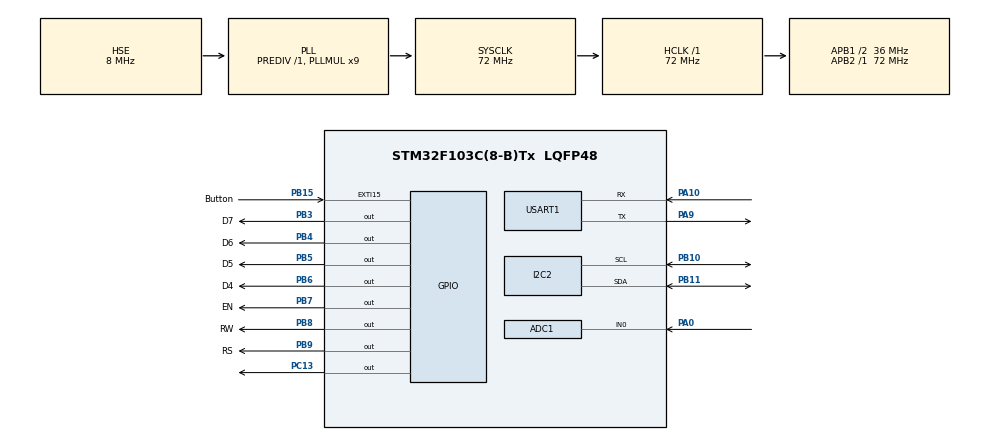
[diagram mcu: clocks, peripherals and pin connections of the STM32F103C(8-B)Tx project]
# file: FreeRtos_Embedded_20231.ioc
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ADC1.Channel-0\#ChannelRegularConversion=ADC_CHANNEL_0
ADC1.ContinuousConvMode=ENABLE
ADC1.NbrOfConversionFlag=1
ADC1.Rank-0\#ChannelRegularConversion=1
ADC1.SamplingTime-0\#ChannelRegularConversion=ADC_SAMPLETIME_55CYCLES_5
ADC1.master=1
Dma.ADC1.0.Direction=DMA_PERIPH_TO_MEMORY
Dma.ADC1.0.Instance=DMA1_Channel1
Dma.ADC1.0.MemDataAlignment=DMA_MDATAALIGN_HALFWORD
Dma.ADC1.0.MemInc=DMA_MINC_ENABLE
Dma.ADC1.0.Mode=DMA_CIRCULAR
Dma.ADC1.0.PeriphDataAlignment=DMA_PDATAALIGN_HALFWORD
Dma.ADC1.0.PeriphInc=DMA_PINC_DISABLE
Dma.ADC1.0.Priority=DMA_PRIORITY_LOW
Dma.Request0=ADC1
FREERTOS.Mutexes01=wait_LCD,Dynamic,NULL;wait_UART,Dynamic,NULL
FREERTOS.Tasks01=SensorTask,24,256,StartSensorTask,Default,NULL,Dynamic,NULL,NULL;UartTask,32,256,StartUartTask,Default,NULL,Dynamic,NULL,NULL;LCDTask,16,256,StartLCDTask,Default,NULL,Dynamic,NULL,NULL
FREERTOS.configTOTAL_HEAP_SIZE=5000
Mcu.Family=STM32F1
Mcu.Name=STM32F103C(8-B)Tx
Mcu.Package=LQFP48
NVIC.DMA1_Channel1_IRQn=true\:5\:0\:false\:false\:true\:true\:false\:true\:true
NVIC.EXTI15_10_IRQn=true\:5\:0\:false\:false\:true\:true\:true\:true\:true
NVIC.PriorityGroup=NVIC_PRIORITYGROUP_4
NVIC.TIM1_UP_IRQn=true\:15\:0\:false\:false\:true\:false\:false\:true\:true
NVIC.TimeBase=TIM1_UP_IRQn
NVIC.TimeBaseIP=TIM1
NVIC.USART1_IRQn=true\:5\:0\:false\:false\:true\:true\:true\:true\:true
PA0-WKUP.Signal=ADCx_IN0
PA10.Mode=Asynchronous
PA10.Signal=USART1_RX
PA13.Mode=Serial_Wire
PA13.Signal=SYS_JTMS-SWDIO
PA14.Mode=Serial_Wire
PA14.Signal=SYS_JTCK-SWCLK
PA9.Mode=Asynchronous
PA9.Signal=USART1_TX
PB10.Mode=I2C
PB10.Signal=I2C2_SCL
PB11.Mode=I2C
PB11.Signal=I2C2_SDA
PB15.GPIO_Label=Button
PB15.GPIO_ModeDefaultEXTI=GPIO_MODE_IT_FALLING
PB15.Signal=GPXTI15
PB3.GPIO_Label=D7
PB3.Signal=GPIO_Output
PB4.GPIO_Label=D6
PB4.Signal=GPIO_Output
PB5.GPIO_Label=D5
PB5.Signal=GPIO_Output
PB6.GPIO_Label=D4
PB6.Signal=GPIO_Output
PB7.GPIO_Label=EN
PB7.Signal=GPIO_Output
PB8.GPIO_Label=RW
PB8.Signal=GPIO_Output
PB9.GPIO_Label=RS
PB9.Signal=GPIO_Output
PC13-TAMPER-RTC.Signal=GPIO_Output
PD0-OSC_IN.Mode=HSE-External-Oscillator
PD0-OSC_IN.Signal=RCC_OSC_IN
PD1-OSC_OUT.Mode=HSE-External-Oscillator
PD1-OSC_OUT.Signal=RCC_OSC_OUT
ProjectManager.HeapSize=0x200
ProjectManager.StackSize=0x400
ProjectManager.TargetToolchain=STM32CubeIDE
RCC.ADCPresc=RCC_ADCPCLK2_DIV6
RCC.AHBFreq_Value=72000000
RCC.APB1CLKDivider=RCC_HCLK_DIV2
RCC.APB1Freq_Value=36000000
RCC.APB1TimFreq_Value=72000000
RCC.APB2Freq_Value=72000000
RCC.APB2TimFreq_Value=72000000
RCC.HCLKFreq_Value=72000000
RCC.PLLMUL=RCC_PLL_MUL9
RCC.PLLSourceVirtual=RCC_PLLSOURCE_HSE
RCC.SYSCLKFreq_VALUE=72000000
RCC.SYSCLKSource=RCC_SYSCLKSOURCE_PLLCLK
RCC.USBFreq_Value=72000000
SH.ADCx_IN0.0=ADC1_IN0,IN0
USART1.VirtualMode=VM_ASYNC
VP_FREERTOS_VS_CMSIS_V2.Mode=CMSIS_V2
VP_SYS_VS_tim1.Mode=TIM1
board=custom

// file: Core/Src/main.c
/* USER CODE BEGIN Header */
/**
  ******************************************************************************
  * @file           : main.c
  * @brief          : Main program body
  ******************************************************************************
  * @attention
  *
  * Copyright (c) 2024 STMicroelectronics.
  * All rights reserved.
  *
  * This software is licensed under terms that can be found in the LICENSE file
  * in the root directory of this software component.
  * If no LICENSE file comes with this software, it is provided AS-IS.
  *
  ******************************************************************************
  */
/* USER CODE END Header */
#include "main.h"
#include "cmsis_os.h"

/* USER CODE BEGIN Includes */
#include "stdio.h"
#include "string.h"
#include "stdlib.h"
#include "math.h"
#include "lcd_16x2.h"

#include "ssd1306_conf_template.h"
#include "ssd1306_fonts.h"
#include "ssd1306_tests.h"
#include "ssd1306.h"
/* USER CODE END Includes */

/* USER CODE BEGIN PD */
#define T1 1000
#define T2 3000
#define T3 5000
/* USER CODE END PD */

ADC_HandleTypeDef hadc1;
DMA_HandleTypeDef hdma_adc1;

I2C_HandleTypeDef hi2c2;

UART_HandleTypeDef huart1;

/* Definitions for SensorTask */
osThreadId_t SensorTaskHandle;
const osThreadAttr_t SensorTask_attributes = {
  .name = "SensorTask",
  .stack_size = 256 * 4,
  .priority = (osPriority_t) osPriorityNormal,
};
/* Definitions for UartTask */
osThreadId_t UartTaskHandle;
const osThreadAttr_t UartTask_attributes = {
  .name = "UartTask",
  .stack_size = 256 * 4,
  .priority = (osPriority_t) osPriorityAboveNormal,
};
/* Definitions for LCDTask */
osThreadId_t LCDTaskHandle;
const osThreadAttr_t LCDTask_attributes = {
  .name = "LCDTask",
  .stack_size = 256 * 4,
  .priority = (osPriority_t) osPriorityBelowNormal,
};
/* Definitions for wait_LCD */
osMutexId_t wait_LCDHandle;
const osMutexAttr_t wait_LCD_attributes = {
  .name = "wait_LCD"
};
/* Definitions for wait_UART */
osMutexId_t wait_UARTHandle;
const osMutexAttr_t wait_UART_attributes = {
  .name = "wait_UART"
};

void SystemClock_Config(void);
static void MX_GPIO_Init(void);
static void MX_DMA_Init(void);
static void MX_ADC1_Init(void);
static void MX_USART1_UART_Init(void);
static void MX_I2C2_Init(void);
void StartSensorTask(void *argument);
void StartUartTask(void *argument);
void StartLCDTask(void *argument);

/* USER CODE BEGIN PFP */

void sensor_read(void);
void Lcd_display(void);

/* USER CODE END PFP */

/* USER CODE BEGIN 0 */

int __io_putchar (int ch)
{
   HAL_UART_Transmit(&huart1, (uint8_t *)&ch, 1, 100);
   return ch;
}

uint8_t do_C[8]={0x0,0x06,0x06,0x00,0x00,0x00,0x00,0x00};
uint16_t data[1];
uint16_t nhietdo;
//float nhietdo;
uint8_t* buff_temp[20];
char temp_char[20];

uint32_t tick = 0;
uint8_t time_tick[20];
uint8_t sp[] = "\n";

uint32_t period = 3000;
uint16_t temp_limit = 20;
uint8_t period_char[5], temp_limit_char[2] = "20";

uint8_t buffer[8];
uint8_t RX_buff[8] = "M1";

uint32_t previousMillis = 0;
uint32_t currentMillis = 0;
uint32_t count = 0;
uint8_t oled_on = 1, lcd_on = 0;

void sensor_read(void)
{
	//hieu chinh cam bien
	nhietdo = (330*data[0])/4095.0 + 6;
	sprintf(temp_char,"%d", nhietdo); // @suppress("Float formatting support")
}

void Lcd_display(void)
{
	// hien thị nhiet do len lcd
	if (lcd_on)
	{
		Lcd_clear_display();
		sprintf(temp_char,"%d", nhietdo); // @suppress("Float formatting support")
		Lcd_gotoxy(0, 0);
		Lcd_write_string("Temp: ");
		Lcd_gotoxy(6, 0);
		Lcd_write_string(temp_char);
		Lcd_create_custom_char(0, do_C);
		Lcd_write_custom_char(9, 0, 0);
		Lcd_gotoxy(10, 0);
		Lcd_write_string("C");

		if(nhietdo > temp_limit)
			{
				Lcd_gotoxy(0,1);
				Lcd_write_string("Over temp limit");
			}
	}
	else
	{
		Lcd_clear_display();
		Lcd_gotoxy(5, 0);
		Lcd_write_string("LCD_OFF");
	}
}

void oled_display(void)
{
	if (oled_on)
	{
		sprintf(temp_char,"%d", nhietdo); // @suppress("Float formatting support")
		ssd1306_Fill(Black);
		ssd1306_SetCursor(4,10);
		ssd1306_WriteString("T: ", Font_11x18, White);
		ssd1306_WriteString(temp_char, Font_11x18, White);
		ssd1306_WriteString(" C", Font_11x18, White);
		ssd1306_UpdateScreen();
		if(nhietdo > temp_limit)
			{
				Lcd_gotoxy(0,1);
				ssd1306_SetCursor(4, 40);
				ssd1306_WriteString("Over Temp Limit !", Font_7x10, White);
				ssd1306_UpdateScreen();
			}
	}
	else
		{
			ssd1306_Fill(Black);
			ssd1306_SetCursor(0,25);
			ssd1306_WriteString("OLED OFF", Font_16x26, White);
			ssd1306_UpdateScreen();
		}
}

void uart_temp_display(void)
{
	printf("\n\rTemperature: %d \xB0\C", nhietdo); // @suppress("Float formatting support")
	printf("\n\rTemperature limit: %d \xB0\C\n",temp_limit);
	if(nhietdo > temp_limit)
	{
		printf("->Over temperature limit!!!\n");
	}
}

void HAL_UART_RxCpltCallback(UART_HandleTypeDef *huart)
{
	 if(huart->Instance == USART1)
	 {
		 strcpy(RX_buff, buffer);
	 }

	 // periods
	 if(RX_buff[2] == 80)
	 {
		 for(int i=0;i<5;i++)
		 {
			 period_char[i] = RX_buff[i+3];
		 }
		 printf("\nSet period: %d ms\n", atoi(period_char));
		 period = atoi(period_char);
		 oled_on = 1;
	 }

	 //Temp limit: M1LT--xx
	 if(RX_buff[3] == 'T')
	 {
		 for(int i=0;i<2;i++)
		 {
			 temp_limit_char[i] = RX_buff[i+6];
		 }

		 temp_limit = atoi(temp_limit_char);
		 printf("\nUpdate temp limit: %d", temp_limit);
		 oled_on = 1;

	 }

	 // hien thi mode 2
	 if(RX_buff[1] == 50)
	 {
		 HAL_UART_Transmit(&huart1, (uint8_t*)"\nMode 2\n", sizeof("\nMode 2\n"), 100);
		 //M2LCD---
		 if(RX_buff[3] == 'C')
		 {
			 // hien thi nhiet do len LCD
			 HAL_UART_Transmit(&huart1, (uint8_t*)"Display LCD\n", sizeof("Display LCD\n"), 100);
			 lcd_on = 1;
			 oled_on = 0;
		 }

		 //M2OLED--
		 if ((RX_buff[2] == 'O')&& (RX_buff[3] == 'L') && (RX_buff[4] == 'E'))
		 {
			 // hien thi nhiet do len oled
			 HAL_UART_Transmit(&huart1, (uint8_t*)"Display Oled\n", sizeof("Display Oled\n"), 100);
			 oled_on = 1;
			 lcd_on = 0;
		 }
		 //M2BOTH--
		 if(RX_buff[2] == 'B')
		 {
			 // hien thi len ca hai man hinh
			 HAL_UART_Transmit(&huart1, (uint8_t*)"Display All\n", sizeof("Display All\n"), 100);
			 oled_on = 1;
			 lcd_on = 1;
		 }
		 //M2NONE---
		 if(RX_buff[2] == 'N')
		 {
			 // hien thi len ca hai man hinh
			 HAL_UART_Transmit(&huart1, (uint8_t*)"OFF All\n", sizeof("OFF All\n"), 100);
			 oled_on = 0;
			 lcd_on = 0;
		 }
	 }

	 HAL_UART_Receive_IT(&huart1, buffer, 8);
}

void HAL_GPIO_EXTI_Callback(uint16_t GPIO_Pin)
{
	currentMillis = HAL_GetTick();
	if ((GPIO_Pin == GPIO_PIN_15) && ((currentMillis - previousMillis) > 40))
	{
		count++;
		if (count == 1)
		{
			period = T1;
			HAL_UART_Transmit(&huart1,(uint8_t*)"\n\rSet Periods: 1s", sizeof("\n\rSet Periods: 1s"), 100);
		}

		if (count == 2)
		{
			period = T2;
			HAL_UART_Transmit(&huart1, (uint8_t*)"\n\rSet Periods: 3s",sizeof("\n\rSet Periods: 3s") , 100);
		}

		if (count == 3)
		{
			period = T3;
			HAL_UART_Transmit(&huart1, (uint8_t*)"\n\rSet Periods: 5s", sizeof("\n\rSet Periods: 1s"), 100);
			count = 0;
		}

		if (count > 3) count = 0;

		previousMillis = currentMillis;
	}
}

/* USER CODE END 0 */

int main(void)
{

  /* MCU Configuration--------------------------------------------------------*/

  /* Reset of all peripherals, Initializes the Flash interface and the Systick. */
  HAL_Init();

  /* Configure the system clock */
  SystemClock_Config();

  /* Initialize all configured peripherals */
  MX_GPIO_Init();
  MX_DMA_Init();
  MX_ADC1_Init();
  MX_USART1_UART_Init();
  MX_I2C2_Init();
  /* USER CODE BEGIN 2 */
  HAL_ADC_Start_DMA(&hadc1, (uint32_t*) data, 1);
  HAL_UART_Receive_IT(&huart1, buffer, 8);
  Lcd_Init();
  ssd1306_Init();
  Lcd_gotoxy(5, 0);
  Lcd_write_string("START");

  ssd1306_Fill(Black);
  ssd1306_SetCursor(25,25);
  ssd1306_WriteString("START", Font_16x26, White);
  ssd1306_UpdateScreen();
	uint16_t sum = 0;
	for(int i = 0; i<300; i++)
	{
		sum+= data[0];
	}
	nhietdo = (3.3*100*sum/300.0)/4095.0;
	sum = 0;

  HAL_Delay(2000-666);
  Lcd_clear_display();

  /* USER CODE END 2 */

  /* Init scheduler */
  osKernelInitialize();
  /* Create the mutex(es) */
  /* creation of wait_LCD */
  wait_LCDHandle = osMutexNew(&wait_LCD_attributes);

  /* creation of wait_UART */
  wait_UARTHandle = osMutexNew(&wait_UART_attributes);

  /* Create the thread(s) */
  /* creation of SensorTask */
  SensorTaskHandle = osThreadNew(StartSensorTask, NULL, &SensorTask_attributes);

  /* creation of UartTask */
  UartTaskHandle = osThreadNew(StartUartTask, NULL, &UartTask_attributes);

  /* creation of LCDTask */
  LCDTaskHandle = osThreadNew(StartLCDTask, NULL, &LCDTask_attributes);

  /* Start scheduler */
  osKernelStart();
  /* We should never get here as control is now taken by the scheduler */
  /* Infinite loop */
  while (1)
  {

  }
}

void SystemClock_Config(void)
{
  RCC_OscInitTypeDef RCC_OscInitStruct = {0};
  RCC_ClkInitTypeDef RCC_ClkInitStruct = {0};
  RCC_PeriphCLKInitTypeDef PeriphClkInit = {0};

  /** Initializes the RCC Oscillators according to the specified parameters
  * in the RCC_OscInitTypeDef structure.
  */
  RCC_OscInitStruct.OscillatorType = RCC_OSCILLATORTYPE_HSE;
  RCC_OscInitStruct.HSEState = RCC_HSE_ON;
  RCC_OscInitStruct.HSEPredivValue = RCC_HSE_PREDIV_DIV1;
  RCC_OscInitStruct.HSIState = RCC_HSI_ON;
  RCC_OscInitStruct.PLL.PLLState = RCC_PLL_ON;
  RCC_OscInitStruct.PLL.PLLSource = RCC_PLLSOURCE_HSE;
  RCC_OscInitStruct.PLL.PLLMUL = RCC_PLL_MUL9;
  if (HAL_RCC_OscConfig(&RCC_OscInitStruct) != HAL_OK)
  {
    Error_Handler();
  }

  /** Initializes the CPU, AHB and APB buses clocks
  */
  RCC_ClkInitStruct.ClockType = RCC_CLOCKTYPE_HCLK|RCC_CLOCKTYPE_SYSCLK
                              |RCC_CLOCKTYPE_PCLK1|RCC_CLOCKTYPE_PCLK2;
  RCC_ClkInitStruct.SYSCLKSource = RCC_SYSCLKSOURCE_PLLCLK;
  RCC_ClkInitStruct.AHBCLKDivider = RCC_SYSCLK_DIV1;
  RCC_ClkInitStruct.APB1CLKDivider = RCC_HCLK_DIV2;
  RCC_ClkInitStruct.APB2CLKDivider = RCC_HCLK_DIV1;

  if (HAL_RCC_ClockConfig(&RCC_ClkInitStruct, FLASH_LATENCY_2) != HAL_OK)
  {
    Error_Handler();
  }
  PeriphClkInit.PeriphClockSelection = RCC_PERIPHCLK_ADC;
  PeriphClkInit.AdcClockSelection = RCC_ADCPCLK2_DIV6;
  if (HAL_RCCEx_PeriphCLKConfig(&PeriphClkInit) != HAL_OK)
  {
    Error_Handler();
  }
}

static void MX_ADC1_Init(void)
{

  ADC_ChannelConfTypeDef sConfig = {0};

  /** Common config
  */
  hadc1.Instance = ADC1;
  hadc1.Init.ScanConvMode = ADC_SCAN_DISABLE;
  hadc1.Init.ContinuousConvMode = ENABLE;
  hadc1.Init.DiscontinuousConvMode = DISABLE;
  hadc1.Init.ExternalTrigConv = ADC_SOFTWARE_START;
  hadc1.Init.DataAlign = ADC_DATAALIGN_RIGHT;
  hadc1.Init.NbrOfConversion = 1;
  if (HAL_ADC_Init(&hadc1) != HAL_OK)
  {
    Error_Handler();
  }

  /** Configure Regular Channel
  */
  sConfig.Channel = ADC_CHANNEL_0;
  sConfig.Rank = ADC_REGULAR_RANK_1;
  sConfig.SamplingTime = ADC_SAMPLETIME_55CYCLES_5;
  if (HAL_ADC_ConfigChannel(&hadc1, &sConfig) != HAL_OK)
  {
    Error_Handler();
  }

}

static void MX_I2C2_Init(void)
{

  hi2c2.Instance = I2C2;
  hi2c2.Init.ClockSpeed = 100000;
  hi2c2.Init.DutyCycle = I2C_DUTYCYCLE_2;
  hi2c2.Init.OwnAddress1 = 0;
  hi2c2.Init.AddressingMode = I2C_ADDRESSINGMODE_7BIT;
  hi2c2.Init.DualAddressMode = I2C_DUALADDRESS_DISABLE;
  hi2c2.Init.OwnAddress2 = 0;
  hi2c2.Init.GeneralCallMode = I2C_GENERALCALL_DISABLE;
  hi2c2.Init.NoStretchMode = I2C_NOSTRETCH_DISABLE;
  if (HAL_I2C_Init(&hi2c2) != HAL_OK)
  {
    Error_Handler();
  }

}

static void MX_USART1_UART_Init(void)
{

  huart1.Instance = USART1;
  huart1.Init.BaudRate = 115200;
  huart1.Init.WordLength = UART_WORDLENGTH_8B;
  huart1.Init.StopBits = UART_STOPBITS_1;
  huart1.Init.Parity = UART_PARITY_NONE;
  huart1.Init.Mode = UART_MODE_TX_RX;
  huart1.Init.HwFlowCtl = UART_HWCONTROL_NONE;
  huart1.Init.OverSampling = UART_OVERSAMPLING_16;
  if (HAL_UART_Init(&huart1) != HAL_OK)
  {
    Error_Handler();
  }

}

static void MX_DMA_Init(void)
{

  /* DMA controller clock enable */
  __HAL_RCC_DMA1_CLK_ENABLE();

  /* DMA interrupt init */
  /* DMA1_Channel1_IRQn interrupt configuration */
  HAL_NVIC_SetPriority(DMA1_Channel1_IRQn, 5, 0);
  HAL_NVIC_EnableIRQ(DMA1_Channel1_IRQn);

}

static void MX_GPIO_Init(void)
{
  GPIO_InitTypeDef GPIO_InitStruct = {0};

  /* GPIO Ports Clock Enable */
  __HAL_RCC_GPIOC_CLK_ENABLE();
  __HAL_RCC_GPIOD_CLK_ENABLE();
  __HAL_RCC_GPIOA_CLK_ENABLE();
  __HAL_RCC_GPIOB_CLK_ENABLE();

  /*Configure GPIO pin Output Level */
  HAL_GPIO_WritePin(GPIOC, GPIO_PIN_13, GPIO_PIN_RESET);

  /*Configure GPIO pin Output Level */
  HAL_GPIO_WritePin(GPIOB, D7_Pin|D6_Pin|D5_Pin|D4_Pin
                          |EN_Pin|RW_Pin|RS_Pin, GPIO_PIN_RESET);

  /*Configure GPIO pin : PC13 */
  GPIO_InitStruct.Pin = GPIO_PIN_13;
  GPIO_InitStruct.Mode = GPIO_MODE_OUTPUT_PP;
  GPIO_InitStruct.Pull = GPIO_NOPULL;
  GPIO_InitStruct.Speed = GPIO_SPEED_FREQ_LOW;
  HAL_GPIO_Init(GPIOC, &GPIO_InitStruct);

  /*Configure GPIO pin : Button_Pin */
  GPIO_InitStruct.Pin = Button_Pin;
  GPIO_InitStruct.Mode = GPIO_MODE_IT_FALLING;
  GPIO_InitStruct.Pull = GPIO_NOPULL;
  HAL_GPIO_Init(Button_GPIO_Port, &GPIO_InitStruct);

  /*Configure GPIO pins : D7_Pin D6_Pin D5_Pin D4_Pin
                           EN_Pin RW_Pin RS_Pin */
  GPIO_InitStruct.Pin = D7_Pin|D6_Pin|D5_Pin|D4_Pin
                          |EN_Pin|RW_Pin|RS_Pin;
  GPIO_InitStruct.Mode = GPIO_MODE_OUTPUT_PP;
  GPIO_InitStruct.Pull = GPIO_NOPULL;
  GPIO_InitStruct.Speed = GPIO_SPEED_FREQ_LOW;
  HAL_GPIO_Init(GPIOB, &GPIO_InitStruct);

  /* EXTI interrupt init*/
  HAL_NVIC_SetPriority(EXTI15_10_IRQn, 5, 0);
  HAL_NVIC_EnableIRQ(EXTI15_10_IRQn);

}

void StartSensorTask(void *argument)
{
  /* USER CODE BEGIN 5 */
  /* Infinite loop */
  for(;;)
  {
	  osMutexAcquire(wait_UARTHandle, osWaitForever);
	  osMutexAcquire(wait_LCDHandle, osWaitForever);
	  //printf("Start sensor\n");
	  sensor_read();
	  HAL_GPIO_TogglePin(GPIOC, GPIO_PIN_13);
	  osMutexRelease(wait_UARTHandle);
	  osMutexRelease(wait_LCDHandle);
	  osDelay(1000);
  }
  /* USER CODE END 5 */
}

void StartUartTask(void *argument)
{
  /* USER CODE BEGIN StartUartTask */
  /* Infinite loop */
  for(;;)
  {
	  osMutexAcquire(wait_UARTHandle, osWaitForever);
	  tick = HAL_GetTick();
	  printf("\nTime: %d",tick);
	  uart_temp_display();

	  osMutexRelease(wait_UARTHandle);
	  osDelay(period-37);
  }
  /* USER CODE END StartUartTask */
}

void StartLCDTask(void *argument)
{
  /* USER CODE BEGIN StartLCDTask */
  /* Infinite loop */
  for(;;)
  {
	  osMutexAcquire(wait_LCDHandle, osWaitForever);
	  Lcd_display();
	  oled_display();
	  osMutexRelease(wait_LCDHandle);

	  osDelay(period-550);
  }
  /* USER CODE END StartLCDTask */
}

void HAL_TIM_PeriodElapsedCallback(TIM_HandleTypeDef *htim)
{
  if (htim->Instance == TIM1) {
    HAL_IncTick();
  }
}

void Error_Handler(void)
{
  __disable_irq();
  while (1)
  {
  }
}
